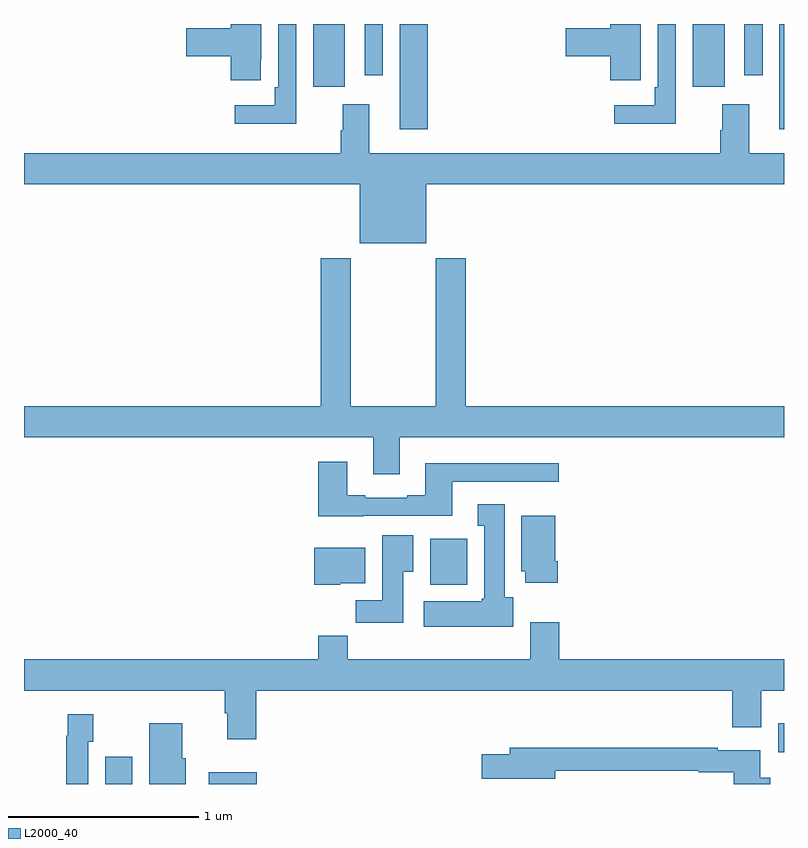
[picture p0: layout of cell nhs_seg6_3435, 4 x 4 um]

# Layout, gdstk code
import gdstk
lib = gdstk.Library(unit=1e-6, precision=1e-09)
def R(c, l, rs):  # rectangles x0, y0, x1, y1
    for r in rs: c.add(gdstk.rectangle(r[:2], r[2:], *l))
def P(c, l, *ps):  # polygons
    for p in ps: c.add(gdstk.Polygon(p, *l))
L2000_40 = (2000, 40)

nhs_seg6_3435 = lib.new_cell('nhs_seg6_3435')
R(nhs_seg6_3435, L2000_40, [(313.427,957.5,313.57,957.643), (313.973,957.5,314.224,957.562), (316.97,957.666,317,957.82), (315.137,958.55,315.334,958.792), (314.978,960.945,315.125,961.5), (316.976,960.945,317,961.5), (314.522,961.17,314.689,961.5), (316.52,961.17,316.687,961.5), (314.793,961.23,314.889,961.5), (316.791,961.23,316.887,961.5)])
P(nhs_seg6_3435, L2000_40, [(316.431,961.5),(316.335,961.5),(316.335,961.168),(316.319,961.168),(316.319,961.072),(316.107,961.072),(316.107,960.974),(316.431,960.974)],
  [(314.433,961.5),(314.337,961.5),(314.337,961.168),(314.321,961.168),(314.321,961.072),(314.109,961.072),(314.109,960.974),(314.433,960.974)],
  [(316.245,961.315),(316.246,961.315),(316.246,961.5),(316.085,961.5),(316.085,961.478),(315.852,961.478),(315.852,961.331),(316.085,961.331),(316.085,961.203),(316.245,961.203)],
  [(314.247,961.315),(314.248,961.315),(314.248,961.5),(314.087,961.5),(314.087,961.478),(313.854,961.478),(313.854,961.331),(314.087,961.331),(314.087,961.203),(314.247,961.203)],
  [(315.118,960.656),(317,960.656),(317,960.82),(316.816,960.82),(316.816,961.078),(316.676,961.078),(316.676,960.941),(316.664,960.941),(316.664,960.82),(314.818,960.82),(314.818,961.078),(314.678,961.078),(314.678,960.941),(314.666,960.941),(314.666,960.82),(313,960.82),(313,960.656),(314.768,960.656),(314.768,960.347),(315.118,960.347)],
  [(317,959.488),(315.326,959.488),(315.326,960.268),(315.166,960.268),(315.166,959.488),(314.721,959.488),(314.721,960.268),(314.561,960.268),(314.561,959.488),(313,959.488),(313,959.324),(314.837,959.324),(314.837,959.13),(314.977,959.13),(314.977,959.324),(317,959.324)],
  [(314.789,958.911),(315.253,958.911),(315.253,959.091),(315.814,959.091),(315.814,959.188),(315.113,959.188),(315.113,959.02),(315.017,959.02),(315.017,959.007),(314.797,959.007),(314.797,959.02),(314.701,959.02),(314.701,959.197),(314.549,959.197),(314.549,958.91),(314.789,958.91)],
  [(315.574,958.482),(315.529,958.482),(315.529,958.972),(315.389,958.972),(315.389,958.859),(315.422,958.859),(315.422,958.476),(315.409,958.476),(315.409,958.462),(315.105,958.462),(315.105,958.328),(315.574,958.328)],
  [(315.809,958.672),(315.796,958.672),(315.796,958.912),(315.617,958.912),(315.617,958.62),(315.638,958.62),(315.638,958.56),(315.809,958.56)],
  [(314.995,958.616),(315.049,958.616),(315.049,958.81),(314.885,958.81),(314.885,958.468),(314.746,958.468),(314.746,958.35),(314.995,958.35)],
  [(314.664,958.556),(314.797,958.556),(314.797,958.744),(314.528,958.744),(314.528,958.55),(314.664,958.55)],
  [(314.222,957.992),(316.727,957.992),(316.727,957.798),(316.879,957.798),(316.879,957.992),(317,957.992),(317,958.156),(315.818,958.156),(315.818,958.351),(315.665,958.351),(315.665,958.156),(314.705,958.156),(314.705,958.28),(314.549,958.28),(314.549,958.156),(313,958.156),(313,957.992),(314.057,957.992),(314.057,957.872),(314.069,957.872),(314.069,957.735),(314.222,957.735)],
  [(313.338,957.723),(313.365,957.723),(313.365,957.868),(313.23,957.868),(313.23,957.755),(313.222,957.755),(313.222,957.5),(313.338,957.5)],
  [(313.852,957.636),(313.834,957.636),(313.834,957.82),(313.658,957.82),(313.658,957.5),(313.852,957.5)],
  [(316.927,957.532),(316.876,957.532),(316.876,957.678),(316.652,957.678),(316.652,957.691),(315.557,957.691),(315.557,957.657),(315.408,957.657),(315.408,957.527),(315.796,957.527),(315.796,957.57),(316.552,957.57),(316.552,957.562),(316.736,957.562),(316.736,957.5),(316.927,957.5)])

lib.write_gds('nhs_seg6_3435.gds')
